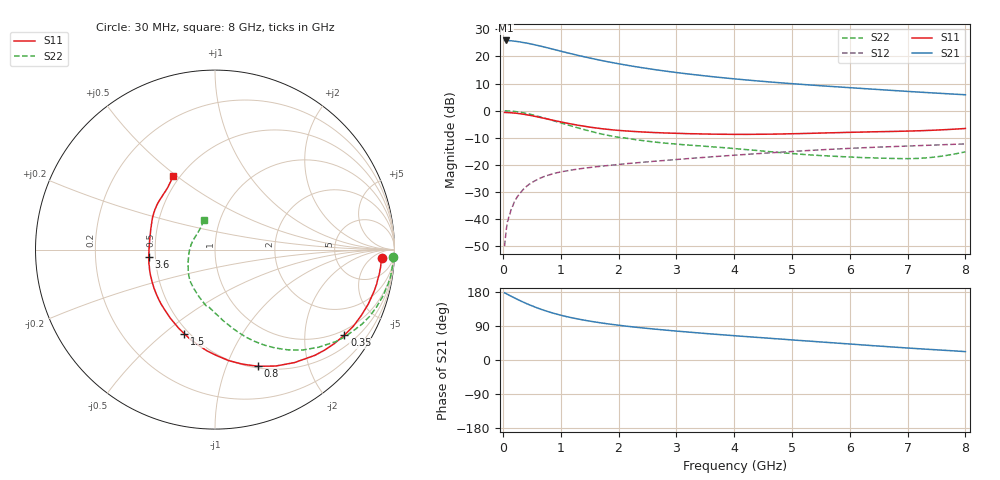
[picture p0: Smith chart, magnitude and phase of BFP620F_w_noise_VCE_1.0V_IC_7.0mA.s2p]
! Infineon Technologies  Discrete & RF Semiconductors
! BFP620F
! VCE =  1.0 V,  IC =  7.0 mA
! Common Emitter S-Parameters:  Dec 2014
# GHz  S  MA  R  50
!  f  S11  S21  S12  S22
! GHz  MAG  ANG  MAG  ANG  MAG  ANG  MAG  ANG
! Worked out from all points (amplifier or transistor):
!   95 points, 30 MHz to 8 GHz, reference 50 ohm
!   highest |S21| = 25.9 dB at 50 MHz (marker M1)
!   |S21| within 3 dB of that: start of sweep to 824.9 MHz
!   unconditionally stable (mu >= 1): 4.609 GHz to end of sweep
!   at 300 MHz: K = 0.10, MSG = 27.8 dB, |S12| = -30.3 dB
!   at 3.3 GHz: K = 0.90, MSG = 15.4 dB, |S12| = -17.5 dB
!   at 8 GHz: K = 1.10, MAG = 7.1 dB, |S12| = -12.2 dB
!   lowest NFmin = 0.55 dB at 450 MHz
!   S11 on the Smith chart (normalised r, x): 30 MHz: 18, -13; 350 MHz: 0.83, -3.12; 800 MHz: 0.52, -1.30; 1.5 GHz: 0.47, -0.59; 3.6 GHz: 0.46, -0.04; 8 GHz: 0.46, +0.48
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0.03  0.9292 -2.9  19.64 177.3  0.0032 92.2  0.9945 -2.4
0.05  0.9276 -5.1  19.7 175.7  0.0052 92.3  0.9939 -4.0
0.11  0.9212 -10.9  19.58 170.8  0.0122 85.0  0.9895 -8.7
0.2  0.9063 -19.6  19.12 164.0  0.0211 80.3  0.9695 -15.8
0.25  0.8938 -24.3  18.82 160.1  0.0261 77.3  0.9549 -19.6
0.35  0.8641 -33.5  18.06 152.9  0.0353 72.4  0.9175 -27.0
0.45  0.8291 -42.4  17.29 146.2  0.0438 68.1  0.8723 -33.8
0.6  0.7695 -54.9  15.96 137.1  0.0543 62.4  0.793 -43.3
0.7  0.7314 -62.5  15.05 131.7  0.0607 59.2  0.7426 -48.9
0.8  0.6926 -69.8  14.16 126.8  0.0658 56.5  0.6915 -53.9
0.9  0.6563 -76.5  13.31 122.3  0.0706 54.0  0.6431 -58.5
1.1  0.592 -88.8  11.77 114.5  0.0779 50.3  0.5555 -66.8
1.4  0.5203 -105.0  9.894 105.3  0.0873 46.7  0.4515 -77.1
1.5  0.4994 -109.9  9.369 102.7  0.0898 45.9  0.4222 -80.3
1.7  0.4676 -119.0  8.447 97.9  0.095 44.6  0.3742 -86.5
2  0.4344 -131.0  7.339 91.8  0.1023 43.3  0.3238 -95.6
2.7  0.3936 -153.1  5.579 80.5  0.1191 40.7  0.2598 -113.8
3.6  0.3708 -173.9  4.266 68.8  0.1414 38.2  0.217 -130.8
4.1  0.3673 176.5  3.78 63.0  0.154 36.4  0.1968 -138.8
5.4  0.3857 155.7  2.937 48.7  0.188 30.6  0.1519 -165.7
6.7  0.4146 137.4  2.379 34.7  0.2175 23.1  0.1325 157.6
8  0.4712 120.1  1.969 22.1  0.2447 15.6  0.1748 110.5
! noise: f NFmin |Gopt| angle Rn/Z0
0.45  0.55  0.38  9  0.25
0.9  0.61  0.35  19  0.22
1.5  0.68  0.32  24  0.19
1.8  0.71  0.3  27  0.18
1.9  0.72  0.25  40  0.19
2.4  0.77  0.22  56  0.17
3.5  0.88  0.21  75  0.14
5.5  1.08  0.14  162  0.12
6  1.12  0.11  185  0.21
